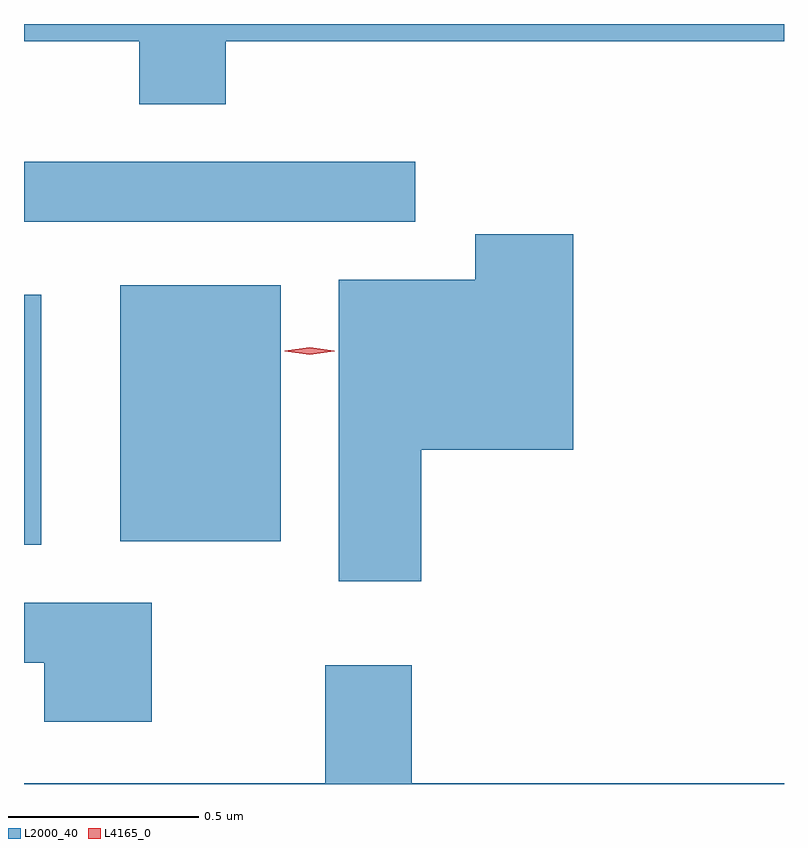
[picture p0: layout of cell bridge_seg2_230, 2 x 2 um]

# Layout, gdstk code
import gdstk
lib = gdstk.Library(unit=1e-6, precision=1e-09)
def R(c, l, rs):  # rectangles x0, y0, x1, y1
    for r in rs: c.add(gdstk.rectangle(r[:2], r[2:], *l))
def P(c, l, *ps):  # polygons
    for p in ps: c.add(gdstk.Polygon(p, *l))
L2000_40 = (2000, 40)
L4165_0 = (4165, 0)

bridge_seg2_230 = lib.new_cell('bridge_seg2_230')
R(bridge_seg2_230, L2000_40, [(605.168,1066.971,605.214,1067.629), (605.421,1066.981,605.844,1067.654), (605.168,1067.821,606.198,1067.979)])
P(bridge_seg2_230, L2000_40, [(605.699,1068.296),(607.168,1068.296),(607.168,1068.342),(605.168,1068.342),(605.168,1068.296),(605.471,1068.296),(605.471,1068.131),(605.699,1068.131)],
  [(606.214,1067.221),(606.614,1067.221),(606.614,1067.789),(606.356,1067.789),(606.356,1067.669),(605.996,1067.669),(605.996,1066.876),(606.214,1066.876)],
  [(605.504,1066.819),(605.168,1066.819),(605.168,1066.661),(605.221,1066.661),(605.221,1066.506),(605.504,1066.506)],
  [(607.168,1066.344),(606.189,1066.344),(606.189,1066.654),(605.961,1066.654),(605.961,1066.344),(605.168,1066.344),(605.168,1066.342),(607.168,1066.342)])
P(bridge_seg2_230, L4165_0, [(605.92,1067.471),(605.854,1067.481),(605.854,1067.481),(605.854,1067.482),(605.92,1067.491),(605.985,1067.482),(605.986,1067.481),(605.985,1067.481)])

lib.write_gds('bridge_seg2_230.gds')
